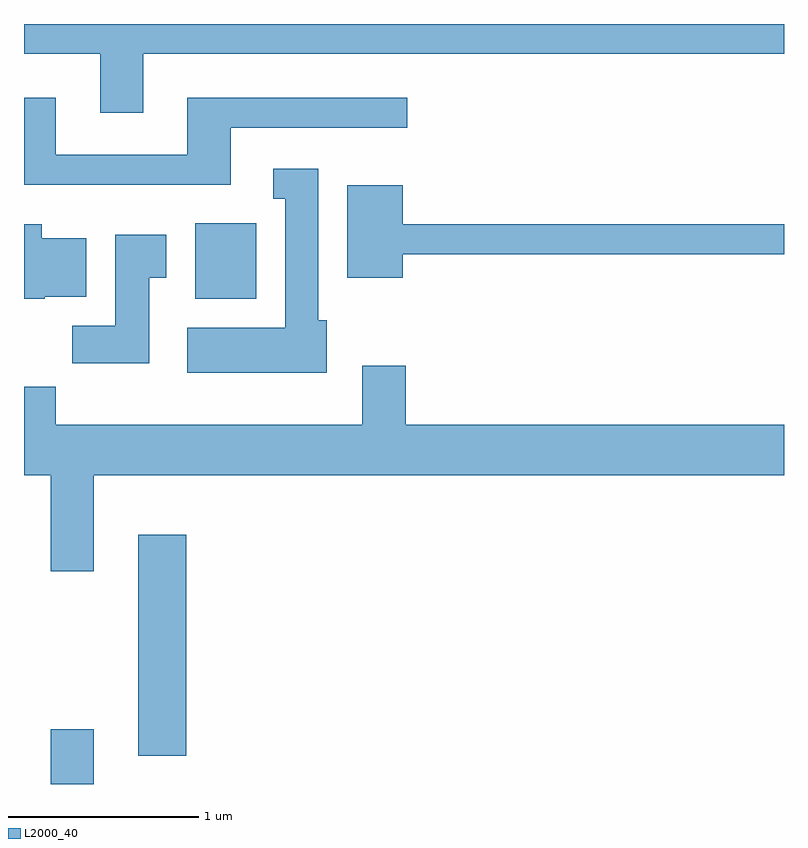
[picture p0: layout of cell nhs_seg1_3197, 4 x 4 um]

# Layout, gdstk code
import gdstk
lib = gdstk.Library(unit=1e-6, precision=1e-09)
def R(c, l, rs):  # rectangles x0, y0, x1, y1
    for r in rs: c.add(gdstk.rectangle(r[:2], r[2:], *l))
def P(c, l, *ps):  # polygons
    for p in ps: c.add(gdstk.Polygon(p, *l))
L2000_40 = (2000, 40)

nhs_seg1_3197 = lib.new_cell('nhs_seg1_3197')
R(nhs_seg1_3197, L2000_40, [(281.751,915.712,281.979,915.999), (282.211,915.861,282.464,917.024), (282.511,918.266,282.834,918.664)])
P(nhs_seg1_3197, L2000_40, [(282.239,919.556),(285.611,919.556),(285.611,919.712),(281.611,919.712),(281.611,919.556),(282.011,919.556),(282.011,919.246),(282.239,919.246)],
  [(282.699,919.166),(283.628,919.166),(283.628,919.324),(282.471,919.324),(282.471,919.024),(281.779,919.024),(281.779,919.324),(281.611,919.324),(281.611,918.866),(282.699,918.866)],
  [(283.204,918.154),(283.159,918.154),(283.159,918.949),(282.923,918.949),(282.923,918.791),(282.986,918.791),(282.986,918.114),(282.471,918.114),(282.471,917.876),(283.204,917.876)],
  [(283.604,918.501),(285.611,918.501),(285.611,918.659),(283.604,918.659),(283.604,918.864),(283.311,918.864),(283.311,918.376),(283.604,918.376)],
  [(281.72,918.276),(281.939,918.276),(281.939,918.584),(281.704,918.584),(281.704,918.659),(281.611,918.659),(281.611,918.266),(281.72,918.266)],
  [(282.269,918.376),(282.359,918.376),(282.359,918.604),(282.091,918.604),(282.091,918.124),(281.866,918.124),(281.866,917.926),(282.269,917.926)],
  [(281.979,917.336),(285.611,917.336),(285.611,917.604),(283.619,917.604),(283.619,917.914),(283.391,917.914),(283.391,917.604),(281.779,917.604),(281.779,917.804),(281.611,917.804),(281.611,917.336),(281.751,917.336),(281.751,916.831),(281.979,916.831)])

lib.write_gds('nhs_seg1_3197.gds')
